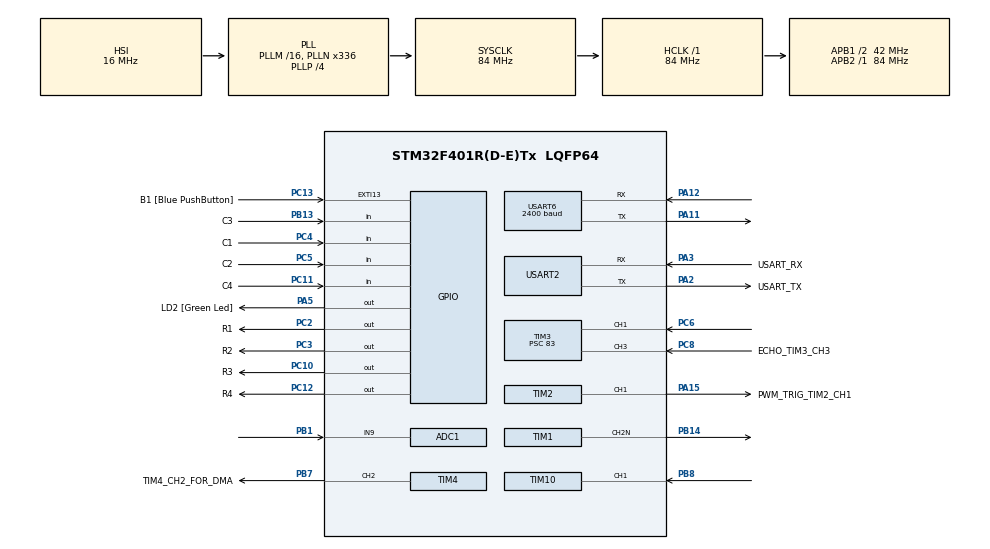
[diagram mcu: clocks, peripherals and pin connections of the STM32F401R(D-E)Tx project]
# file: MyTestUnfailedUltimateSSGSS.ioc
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ADC1.Channel-0\#ChannelRegularConversion=ADC_CHANNEL_9
ADC1.DMAContinuousRequests=ENABLE
ADC1.ExternalTrigConv=ADC_EXTERNALTRIGCONV_T2_TRGO
ADC1.NbrOfConversionFlag=1
ADC1.Rank-0\#ChannelRegularConversion=1
ADC1.SamplingTime-0\#ChannelRegularConversion=ADC_SAMPLETIME_3CYCLES
ADC1.master=1
Dma.ADC1.0.Direction=DMA_PERIPH_TO_MEMORY
Dma.ADC1.0.FIFOMode=DMA_FIFOMODE_DISABLE
Dma.ADC1.0.Instance=DMA2_Stream0
Dma.ADC1.0.MemDataAlignment=DMA_MDATAALIGN_WORD
Dma.ADC1.0.MemInc=DMA_MINC_ENABLE
Dma.ADC1.0.Mode=DMA_CIRCULAR
Dma.ADC1.0.PeriphDataAlignment=DMA_PDATAALIGN_WORD
Dma.ADC1.0.PeriphInc=DMA_PINC_DISABLE
Dma.ADC1.0.Priority=DMA_PRIORITY_HIGH
Dma.Request0=ADC1
Dma.Request1=USART6_TX
Dma.Request2=TIM4_CH2
Dma.TIM4_CH2.2.Direction=DMA_MEMORY_TO_PERIPH
Dma.TIM4_CH2.2.FIFOMode=DMA_FIFOMODE_DISABLE
Dma.TIM4_CH2.2.Instance=DMA1_Stream3
Dma.TIM4_CH2.2.MemDataAlignment=DMA_MDATAALIGN_WORD
Dma.TIM4_CH2.2.MemInc=DMA_MINC_ENABLE
Dma.TIM4_CH2.2.Mode=DMA_NORMAL
Dma.TIM4_CH2.2.PeriphDataAlignment=DMA_PDATAALIGN_WORD
Dma.TIM4_CH2.2.PeriphInc=DMA_PINC_DISABLE
Dma.TIM4_CH2.2.Priority=DMA_PRIORITY_HIGH
Dma.USART6_TX.1.Direction=DMA_MEMORY_TO_PERIPH
Dma.USART6_TX.1.FIFOMode=DMA_FIFOMODE_DISABLE
Dma.USART6_TX.1.Instance=DMA2_Stream6
Dma.USART6_TX.1.MemDataAlignment=DMA_MDATAALIGN_BYTE
Dma.USART6_TX.1.MemInc=DMA_MINC_ENABLE
Dma.USART6_TX.1.Mode=DMA_NORMAL
Dma.USART6_TX.1.PeriphDataAlignment=DMA_PDATAALIGN_BYTE
Dma.USART6_TX.1.PeriphInc=DMA_PINC_DISABLE
Dma.USART6_TX.1.Priority=DMA_PRIORITY_VERY_HIGH
Mcu.Family=STM32F4
Mcu.Name=STM32F401R(D-E)Tx
Mcu.Package=LQFP64
NVIC.DMA1_Stream3_IRQn=true\:0\:0\:false\:false\:true\:false\:true
NVIC.DMA2_Stream0_IRQn=true\:0\:0\:false\:false\:true\:false\:true
NVIC.DMA2_Stream6_IRQn=true\:0\:0\:false\:false\:true\:false\:true
NVIC.PriorityGroup=NVIC_PRIORITYGROUP_0
NVIC.TIM1_UP_TIM10_IRQn=true\:0\:0\:false\:false\:true\:true\:true
NVIC.TIM3_IRQn=true\:0\:0\:false\:false\:true\:true\:true
NVIC.USART6_IRQn=true\:0\:0\:false\:false\:true\:true\:true
PA11.Mode=Asynchronous
PA11.Signal=USART6_TX
PA12.Mode=Asynchronous
PA12.Signal=USART6_RX
PA13.GPIO_Label=TMS
PA13.Mode=Serial_Wire
PA13.Signal=SYS_JTMS-SWDIO
PA14.GPIO_Label=TCK
PA14.Mode=Serial_Wire
PA14.Signal=SYS_JTCK-SWCLK
PA15.GPIO_Label=PWM_TRIG_TIM2_CH1
PA15.Signal=S_TIM2_CH1_ETR
PA2.GPIO_Label=USART_TX
PA2.GPIO_Mode=GPIO_MODE_AF_PP
PA2.GPIO_PuPd=GPIO_NOPULL
PA2.GPIO_Speed=GPIO_SPEED_FREQ_LOW
PA2.Mode=Asynchronous
PA2.Signal=USART2_TX
PA3.GPIO_Label=USART_RX
PA3.GPIO_Mode=GPIO_MODE_AF_PP
PA3.GPIO_PuPd=GPIO_NOPULL
PA3.GPIO_Speed=GPIO_SPEED_FREQ_LOW
PA3.Mode=Asynchronous
PA3.Signal=USART2_RX
PA5.GPIO_Label=LD2 [Green Led]
PA5.GPIO_Mode=GPIO_MODE_OUTPUT_PP
PA5.GPIO_PuPd=GPIO_NOPULL
PA5.GPIO_Speed=GPIO_SPEED_FREQ_LOW
PA5.Signal=GPIO_Output
PB1.Signal=ADCx_IN9
PB13.GPIO_Label=C3
PB13.GPIO_PuPd=GPIO_PULLUP
PB13.Signal=GPIO_Input
PB14.Mode=PWM Generation2 CH2N
PB14.Signal=TIM1_CH2N
PB3.GPIO_Label=SWO
PB3.Signal=SYS_JTDO-SWO
PB7.GPIO_Label=TIM4_CH2_FOR_DMA
PB7.Signal=S_TIM4_CH2
PB8.Signal=S_TIM10_CH1
PC10.GPIO_Label=R3
PC10.GPIO_ModeDefaultOutputPP=GPIO_MODE_OUTPUT_OD
PC10.Signal=GPIO_Output
PC11.GPIO_Label=C4
PC11.GPIO_PuPd=GPIO_PULLUP
PC11.Signal=GPIO_Input
PC12.GPIO_Label=R4
PC12.GPIO_ModeDefaultOutputPP=GPIO_MODE_OUTPUT_OD
PC12.Signal=GPIO_Output
PC13-ANTI_TAMP.GPIO_Label=B1 [Blue PushButton]
PC13-ANTI_TAMP.GPIO_ModeDefaultEXTI=GPIO_MODE_IT_FALLING
PC13-ANTI_TAMP.GPIO_PuPd=GPIO_NOPULL
PC13-ANTI_TAMP.Signal=GPXTI13
PC14-OSC32_IN.Mode=LSE-External-Oscillator
PC14-OSC32_IN.Signal=RCC_OSC32_IN
PC15-OSC32_OUT.Mode=LSE-External-Oscillator
PC15-OSC32_OUT.Signal=RCC_OSC32_OUT
PC2.GPIO_Label=R1
PC2.GPIO_ModeDefaultOutputPP=GPIO_MODE_OUTPUT_OD
PC2.Signal=GPIO_Output
PC3.GPIO_Label=R2
PC3.GPIO_ModeDefaultOutputPP=GPIO_MODE_OUTPUT_OD
PC3.Signal=GPIO_Output
PC4.GPIO_Label=C1
PC4.GPIO_PuPd=GPIO_PULLUP
PC4.Signal=GPIO_Input
PC5.GPIO_Label=C2
PC5.GPIO_PuPd=GPIO_PULLUP
PC5.Signal=GPIO_Input
PC6.Signal=S_TIM3_CH1
PC8.GPIO_Label=ECHO_TIM3_CH3
PC8.GPIO_ModeDefaultPP=GPIO_MODE_AF_PP
PC8.GPIO_PuPd=GPIO_NOPULL
PC8.GPIO_Speed=GPIO_SPEED_FREQ_LOW
PC8.Signal=S_TIM3_CH3
PH0\ -\ OSC_IN.Mode=HSE-External-Clock-Source
PH0\ -\ OSC_IN.Signal=RCC_OSC_IN
PH1\ -\ OSC_OUT.Mode=HSE-External-Clock-Source
PH1\ -\ OSC_OUT.Signal=RCC_OSC_OUT
ProjectManager.HeapSize=0x200
ProjectManager.StackSize=0x400
ProjectManager.TargetToolchain=MDK-ARM V5
RCC.48MHZClocksFreq_Value=48000000
RCC.AHBFreq_Value=84000000
RCC.APB1CLKDivider=RCC_HCLK_DIV2
RCC.APB1Freq_Value=42000000
RCC.APB1TimFreq_Value=84000000
RCC.APB2Freq_Value=84000000
RCC.APB2TimFreq_Value=84000000
RCC.CortexFreq_Value=84000000
RCC.HCLKFreq_Value=84000000
RCC.HSE_VALUE=8000000
RCC.HSI_VALUE=16000000
RCC.PLLN=336
RCC.PLLP=RCC_PLLP_DIV4
RCC.PLLQ=7
RCC.SYSCLKFreq_VALUE=84000000
RCC.SYSCLKSource=RCC_SYSCLKSOURCE_PLLCLK
RCC.VCOOutputFreq_Value=336000000
SH.ADCx_IN9.0=ADC1_IN9,IN9
SH.S_TIM10_CH1.0=TIM10_CH1,Input_Capture1_from_TI1
SH.S_TIM2_CH1_ETR.0=TIM2_CH1,PWM Generation1 CH1
SH.S_TIM3_CH1.0=TIM3_CH1,Input_Capture1_from_TI1
SH.S_TIM3_CH3.0=TIM3_CH3,Input_Capture3_from_TI3
SH.S_TIM4_CH2.0=TIM4_CH2,PWM Generation2 CH2
TIM1.Channel-PWM\ Generation2\ CH2N=TIM_CHANNEL_2
TIM1.Period=2209
TIM10.AutoReloadPreload=TIM_AUTORELOAD_PRELOAD_DISABLE
TIM10.Channel=TIM_CHANNEL_1
TIM10.ICPolarity_CH1=TIM_INPUTCHANNELPOLARITY_BOTHEDGE
TIM10.Period=65535
TIM10.Prescaler=83
TIM2.Channel-PWM\ Generation1\ CH1=TIM_CHANNEL_1
TIM2.Period=199999
TIM2.Prescaler=83
TIM2.Pulse-PWM\ Generation1\ CH1=10
TIM2.TIM_MasterOutputTrigger=TIM_TRGO_RESET
TIM3.Channel-Input_Capture1_from_TI1=TIM_CHANNEL_1
TIM3.Channel-Input_Capture3_from_TI3=TIM_CHANNEL_3
TIM3.ICPolarity_CH1=TIM_INPUTCHANNELPOLARITY_BOTHEDGE
TIM3.ICPolarity_CH3=TIM_INPUTCHANNELPOLARITY_BOTHEDGE
TIM3.Prescaler=83
TIM4.AutoReloadPreload=TIM_AUTORELOAD_PRELOAD_ENABLE
TIM4.Channel-PWM\ Generation2\ CH2=TIM_CHANNEL_2
TIM4.Period=2100-1
TIM4.Prescaler=0
USART2.VirtualMode=VM_ASYNC
USART6.BaudRate=2400
USART6.VirtualMode=VM_ASYNC
VP_TIM10_VS_ClockSourceINT.Mode=Enable_Timer
VP_TIM2_VS_ClockSourceINT.Mode=Internal
VP_TIM3_VS_ClockSourceINT.Mode=Internal
VP_TIM4_VS_ClockSourceINT.Mode=Internal
board=NUCLEO-F401RE

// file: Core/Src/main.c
/* USER CODE BEGIN Header */
/**
  ******************************************************************************
  * @file           : main.c
  * @brief          : Main program body
  ******************************************************************************
  * @attention
  *
  * <h2><center>&copy; Copyright (c) 2021 STMicroelectronics.
  * All rights reserved.</center></h2>
  *
  * This software component is licensed by ST under BSD 3-Clause license,
  * the "License"; You may not use this file except in compliance with the
  * License. You may obtain a copy of the License at:
  *                        opensource.org/licenses/BSD-3-Clause
  *
  ******************************************************************************
  */
/* USER CODE END Header */
#include "main.h"
#include "adc.h"
#include "dma.h"
#include "tim.h"
#include "usart.h"
#include "gpio.h"

/* USER CODE BEGIN Includes */
#include "stdio.h"
#include "stdlib.h"
//#define ARM_MATH_CM4
//#include "arm_math.h"

#include "MCUFRIEND_kbv.h"
#include "math.h"
#include "shapes.h"
#include "tetris.h"

//#include "MCUFRIEND_kbv.h"
/* USER CODE END Includes */

/* USER CODE BEGIN PD */
#define SNR_THRESHOLD_F32    75.0f
#if defined(ARM_MATH_MVEF) && !defined(ARM_MATH_AUTOVECTORIZE)
/* Must be a multiple of 16 */
#define NUM_TAPS_ARRAY_SIZE              32
#else
#define NUM_TAPS_ARRAY_SIZE              29
#endif
#define NUM_TAPS              29

#define TEST_LENGTH_SAMPLES  320
#define TABLE_LENGTH  4

//#define BLOCK_SIZE            1
//#if defined(ARM_MATH_MVEF) && !defined(ARM_MATH_AUTOVECTORIZE)
//static float32_t firStateF32[2 * BLOCK_SIZE + NUM_TAPS - 1];
//#else
//static float32_t firStateF32[BLOCK_SIZE + NUM_TAPS - 1];
//#endif

/* USER CODE END PD */

/* USER CODE BEGIN PV */
///////////////////////LAB8 VARIABLES
#define TABLE_LENGTH_DMA 8000
uint32_t tab_value1[TABLE_LENGTH_DMA];
uint32_t tab_value2[TABLE_LENGTH_DMA];
volatile uint32_t * tab = tab_value1;
volatile int flag_done_DMA = 0;
float A = 0.0;
float k = 0.65;
const float pi = 3.14159265358979323846;
	int i_DMA;
	double periode = 100.00;
	int a_DMA = 0;
	int zz= 0;
	double constante;

///Project Variables
bool startScreen = true;
volatile int Rise_Fall_State = 0;
volatile int token25 =-1;
volatile int local_time = 0;

		//variables for X inputs
volatile float DifferenceX = 0.0;
volatile float IC_Val1 = 0.0;
volatile float IC_Val2 = 0.0;
volatile int Is_First_CapturedX = 0;
volatile float DistanceX = -9000.0;
volatile float tab_valueX[TABLE_LENGTH];
		//variables for Y inputs
volatile float DifferenceY = 0.0;
volatile float IC_Val3 = 0.0;
volatile float IC_Val4 = 0.0;
volatile int Is_First_CapturedY = 0;
volatile float DistanceY = -9000.0;
volatile float tab_valueY[TABLE_LENGTH];

volatile bool FromGaucheToDroite =false;
volatile bool FromGaucheToDroiteFast =false;
volatile bool FromDroiteToGauche =false;
volatile bool FromDroiteToGaucheFast =false;
volatile bool notDroiteGauche=false;
volatile bool notGaucheDroite=false;
volatile bool versLeBas=false;
volatile bool isRotating=false;

//TRansmission RX TX
volatile int compteur = 0;
volatile int compteur_end = 0;
volatile int flag_send = 0;
volatile int flag_done = 0;
volatile int flag_reset = 0;
static int y = 0;
int x = 0;

uint8_t data[FIELD_W+2];
volatile uint8_t Rx_data;
volatile uint8_t Rx_buffer[FIELD_W];
volatile int current_state = 0;
volatile int changement = 1;
volatile int flag_lineIsFull = 0;
volatile bool flag_Collision = false;
volatile unsigned int indexLine=0;
volatile unsigned int indexEmpty=0;

unsigned int level = 0;
/* USER CODE END PV */

void SystemClock_Config(void);

/* USER CODE BEGIN 0 */
#ifdef __GNUC__
#define PUTCHAR_PROTOTYPE int __io_putchar(int ch)
#else
#define PUTCHAR_PROTOTYPE int fputc(int ch, FILE *f)
#endif /* __GNUC__ */

#define SUPPORT_ECRAN_1

void print_array(uint8_t* myArray, int size);

void SetLCD(void)
{
	LCD_Begin();
	HAL_Delay(20);
	LCD_SetRotation(0);
//	LCD_InvertDisplay(false);
	LCD_FillScreen(BLACK);
}

void Menustart(uint16_t Color1, uint16_t Color2, uint16_t Color3, uint16_t Color4)
{
	LCD_SetCursor(10, 50);
	LCD_SetTextColor(WHITE, Color1);
	LCD_Printf("SANIC TETRIS");

	LCD_SetCursor(10, 100);
	LCD_SetTextColor(WHITE,Color2);
	LCD_Printf("Select mode:");

	LCD_SetCursor(25, 200);
	LCD_SetTextColor(WHITE,Color3);
	LCD_Printf("->MODE SOLO");

	LCD_SetCursor(25, 250);
	LCD_SetTextColor(WHITE,Color4);
	LCD_Printf("->MODE DUEL");
}

void SelectSize(uint16_t Color1, uint16_t Color2, uint16_t Color3, uint16_t Color4)
{
	LCD_SetCursor(10, 50);
	LCD_SetTextColor(WHITE, Color1);
	LCD_Printf("SANIC TETRIS");

	LCD_SetCursor(10, 100);
	LCD_SetTextColor(WHITE,Color2);
	LCD_Printf("Select size:");

	LCD_SetCursor(25, 200);
	LCD_SetTextColor(WHITE,Color3);
	LCD_Printf("->SMALL");

	LCD_SetCursor(25, 250);
	LCD_SetTextColor(WHITE,Color4);
	LCD_Printf("->BIG");
}

void SelectDifficulty(uint16_t Color1, uint16_t Color2, uint16_t Color3, uint16_t Color4)
{
	LCD_SetCursor(20, 100);
	LCD_SetTextColor(WHITE, Color1);
	LCD_Printf("-> INDUS");

	LCD_SetCursor(20, 125);
	LCD_SetTextColor(WHITE,Color2);
	LCD_Printf("-> EASY");

	LCD_SetCursor(20, 150);
	LCD_SetTextColor(WHITE, Color3);
	LCD_Printf("-> MEDIUM");

	LCD_SetCursor(20, 175);
	LCD_SetTextColor(WHITE, Color4);
	LCD_Printf("-> HARD");

	LCD_SetTextColor(WHITE, BLACK);
}

void selectRow (int r)
{
	if (r==1) HAL_GPIO_WritePin(R1_GPIO_Port, R1_Pin, GPIO_PIN_RESET);
	else HAL_GPIO_WritePin(R1_GPIO_Port, R1_Pin, GPIO_PIN_SET);
	if (r==2) HAL_GPIO_WritePin(R2_GPIO_Port, R2_Pin, GPIO_PIN_RESET);
	else HAL_GPIO_WritePin(R2_GPIO_Port, R2_Pin, GPIO_PIN_SET);
	if (r==3) HAL_GPIO_WritePin(R3_GPIO_Port, R3_Pin, GPIO_PIN_RESET);
	else HAL_GPIO_WritePin(R3_GPIO_Port, R3_Pin, GPIO_PIN_SET);
	if (r==4) HAL_GPIO_WritePin(R4_GPIO_Port, R4_Pin, GPIO_PIN_RESET);
	else HAL_GPIO_WritePin(R4_GPIO_Port, R4_Pin, GPIO_PIN_SET);
}

int readCol()
{
	int result = 0;
	if (HAL_GPIO_ReadPin(C1_GPIO_Port, C1_Pin) == GPIO_PIN_RESET) result += 1;
	if (HAL_GPIO_ReadPin(C2_GPIO_Port, C2_Pin) == GPIO_PIN_RESET) result += 2;
	if (HAL_GPIO_ReadPin(C3_GPIO_Port, C3_Pin) == GPIO_PIN_RESET) result += 4;
	if (HAL_GPIO_ReadPin(C4_GPIO_Port, C4_Pin) == GPIO_PIN_RESET) result += 8;
	return result;
}

int keyPressed()
{
	int rowPos=1; //Current row positiom
	int rowValue; //Value read from the current row
	for (rowPos=1; rowPos <= 4; rowPos++)
	{
		selectRow(rowPos);
		HAL_Delay(10);
//		while (token2 == 0); //attendre 10ms
//		token2 = 0;
		rowValue=readCol();
		if (rowValue != 0)
		{ // a key is pressed
			int result = 4*(rowPos-1);
			while (!(rowValue & 1))
			{ // test if bit #0 is false
				result++;
				rowValue>>=1;
			}
			while (readCol() != 0); // key no more pressed
			return result;
		}
	}
	return -1;
}

void copy( uint8_t* myArray, int index)
{
	myArray[0]=255;
	for (int i=0; i<FIELD_W;i++){
		myArray[i+1]=Field[index][i];
	}
	myArray[FIELD_W+1]=254;
}

void paste(	uint8_t* buffer,  int row)
{
	for(int i=0; i<FIELD_W;i++){
		if(buffer[i]!=0){
		Field[row][i]= buffer[i];//buffer[i];
		}
	}
}
void DMA_sound_Extended()
{
				///////////////////DMA//////////////////////////
					HAL_TIM_PWM_Start_DMA(&htim4, TIM_CHANNEL_2, (uint32_t *)tab, TABLE_LENGTH_DMA);

					flag_done_DMA = 0;

		for (i_DMA=0;i_DMA<TABLE_LENGTH_DMA;i_DMA++) {
				double modulo = (i_DMA%((int)(periode)));
				A = 1+k*sin(4*pi*((float) i_DMA)*(1/8000000.0));
				double value = 1000*A;
				if(modulo < periode/2)
					value = 0*A;
				tab[i_DMA]=(int) value;
		}

		while (flag_done_DMA == 0);

		if(a_DMA==5){
			periode/=constante;
			a_DMA=0;
			zz++;
		}

		if(zz==6){
			constante = 1/constante;
		}

		if(zz==12){
			constante = 1/constante;
			zz=0;
			periode=100.00;
		}

		a_DMA++;
//				HAL_TIM_PWM_Stop_DMA(&htim4, TIM_CHANNEL_2);

}

void DMA_sound_Classic()
{
				///////////////////DMA//////////////////////////
					HAL_TIM_PWM_Start_DMA(&htim4, TIM_CHANNEL_2, (uint32_t *)tab, TABLE_LENGTH_DMA);

					flag_done_DMA = 0;

		for (i_DMA=0;i_DMA<TABLE_LENGTH_DMA;i_DMA++) {
				double modulo = (i_DMA%((int)(periode)));
				A = 1+k*sin(4*pi*((float) i_DMA)*(1/8000000.0));
				double value = 1000*A;
				if(modulo < periode/2)
					value = 0*A;
				tab[i_DMA]=(int) value;
		}

		while (flag_done_DMA == 0);

		if(a_DMA==5){
			periode/=constante;
			a_DMA=0;
			zz++;
		}

		if(zz==6){
			constante = 1/constante;
		}

		if(zz==12){
			constante = 1/constante;
			zz=0;
			periode=100.00;
		}

		a_DMA++;
		HAL_TIM_PWM_Stop_DMA(&htim4, TIM_CHANNEL_2);

}

bool updateField()
{

	// Faire tomber le tetrimino en mouvement.
	bool collision = displaceTetrimino(0, 1, &tetrimino);

	// S'il y a une collision vers le bas, il faut actualiser le puits.
	if (collision)
		{
			DMA_sound_Classic();
		// Remplacer le tetrimino mobile par des blocs dans "Field".
		for(int i = 0; i < 4; i++){
			for(int j = 0; j < 4; j++){
				short row = i + tetrimino.y - 1;
				short col = j + tetrimino.x;
				short rotation = tetrimino.rotation % N_ROTATIONS;
				bool isTetriminoBlockSolid = (
					TETRIMINOS[tetrimino.type][rotation][i][j]);
				if (isTetriminoBlockSolid && row < FIELD_H) {
					// On ajoute 1 au type parce que 0 correspond déjà à une
					// case vide dans le tableau Field.
					Field[row][col] = tetrimino.type + 1;
				}
			}
		}

		// Effacer des lignes si nécessaire.
		short nLinesToErase = 0;
		for(short row = FIELD_H - 1; row > 0; row--){
			bool isLineFull = true;
			for(short col = 0; col < FIELD_W; col++){
				if (!Field[row][col]){
					isLineFull = false;
					break;
				}
			}
			if (isLineFull) {
				eraseLine(row);
				nLinesToErase++;
				row++;
			}
		}
		if (nLinesToErase) {
			displayField();
			score += linePoints[nLinesToErase - 1];
			nDeletedLines += nLinesToErase;
			displayScore();
			displayNDeletedLines();
		}
		//find index of line to transmit AND index of line to put received line in
		for (int row = FIELD_H -1; row > 0; row--)
		{
			bool isLineEmpty = true;
			for (int col = 0; col < FIELD_W; col++)
			{
					if (Field[row][col] != 0)
					{
						isLineEmpty = false;
						break;
					}

			}
			if(isLineEmpty)
			{
				indexEmpty=row;
				indexLine=row+1;
				break;
			}
		}
		if ( nLinesToErase == 2) //commencer transmission 1 ligne
		{
			//appel copy
//				HAL_TIM_PWM_Start_DMA(&htim4, TIM_CHANNEL_2, (uint32_t *)tab, TABLE_LENGTH_DMA);
			copy((uint8_t*)&data, indexLine);
			HAL_UART_Transmit_DMA(&huart6, data, sizeof(data));
			///////////////////DMA//////////////////////////
			DMA_sound_Extended();
//					flag_done_DMA = 0;
//
//		for (i_DMA=0;i_DMA<TABLE_LENGTH_DMA;i_DMA++) {
//				double modulo = (i_DMA%((int)(periode)));
//				A = 1+k*sin(4*pi*((float) i_DMA)*(1/80000.0));
//				double value = 1000*A;
//				if(modulo < periode/2)
//					value = 0*A;
//				tab[i_DMA]=(int) value;
//		}
//
//		while (flag_done_DMA == 0);
//
//		if(a_DMA==5){
//			periode/=constante;
//			a_DMA=0;
//			zz++;
//		}
//
//		if(zz==6){
//			constante = 1/constante;
//		}
//
//
//		if(zz==12){
//			constante = 1/constante;
//			zz=0;
//			periode=100.00;
//		}
//
//		a_DMA++;
//				HAL_TIM_PWM_Stop_DMA(&htim4, TIM_CHANNEL_2);

		}
		if ( nLinesToErase == 3) //commencer transmission 1 ligne
		{
			//appel copy
			DMA_sound_Extended();
			copy((uint8_t*)&data, indexLine);
			HAL_UART_Transmit_DMA(&huart6, data, sizeof(data));
			eraseLine(indexLine);
		}
		if ( nLinesToErase == 4) //commencer transmission 1 ligne
		{
			//appel copy
			DMA_sound_Extended();
			copy((uint8_t*)&data, indexLine);
			HAL_UART_Transmit_DMA(&huart6, data, sizeof(data));
			copy((uint8_t*)&data, indexLine+1);
			eraseLine(indexLine);
			HAL_UART_Transmit_DMA(&huart6, data, sizeof(data));

			eraseLine(indexLine+1);
		}
//		copy((uint8_t*)&data, indexLine);

		if(flag_done == 1) //réception complète
		{
			//appel paste
			flag_done =0;
			paste(((uint8_t*)&Rx_buffer), indexEmpty);
			displayField();
		}

		// Réinitialiser le tetrmino et vérifier s'il y a une erreur.
		bool lostGame = resetTetrimino(&tetrimino);
		if (lostGame) {
			return true;
		}

	}
	return false;
}

/* USER CODE END 0 */

int main(void)
{

  /* MCU Configuration--------------------------------------------------------*/

  /* Reset of all peripherals, Initializes the Flash interface and the Systick. */
  HAL_Init();

  /* Configure the system clock */
  SystemClock_Config();

  /* Initialize all configured peripherals */
  MX_GPIO_Init();
  MX_USART2_UART_Init();
  MX_ADC1_Init();
  MX_DMA_Init();
  MX_TIM2_Init();
  MX_TIM3_Init();
  MX_TIM4_Init();
  MX_USART6_UART_Init();
  MX_TIM1_Init();
  MX_TIM10_Init();
  /* USER CODE BEGIN 2 */
	// LCD initialization
	LCD_Begin();
	HAL_Delay(20);
	LCD_SetRotation(0);
//	LCD_FillScreen(BLACK);
	//LCD_DrawFastHLine(0, 160, 240, YELLOW);
//	LCD_DrawCircle(N/2, N/2, 15, WHITE);
	//LCD_DrawRect(20, 40, 202, 240, RED);
//	LCD_Printf("! HELLO ! ");
//	HAL_TIM_Base_Start(&htim2);
//	HAL_TIM_Base_Start_IT(&htim2);

//	HAL_ADC_Start_DMA(&hadc1, tab, TABLE_LENGTH);
		#undef FIELD_H
		#undef FIELD_W

		Menustart(WHITE,WHITE,WHITE,WHITE);
		while(startScreen == true)
		{
			int key = keyPressed();
			if( (key == 0) || (key == 1) || (key == 2) || (key == 3) ) //rangée 0
			{
					printf("Bouton pese numero %d\r\n", key);
					SetLCD();
					Menustart(WHITE,WHITE,WHITE,RED);

			}
			if( (key == 4) || (key == 5) || (key == 6) || (key == 7) ) //rangée 1
			{
					SetLCD();
					Menustart(WHITE,WHITE,RED,WHITE);
			}

			if( (key == 8) || (key == 9) || (key == 10) || (key == 11) ) //rangée 2
			{
				break;
			}
//			if( (key == 12 || (key == 13) || (key == 14) || (key == 15) ) //rangée 3
//			{
//
//			}
			else {			printf("Bouton non pese\r\n");}
		}
		SetLCD();
		SelectSize(WHITE, WHITE, WHITE, WHITE);

		while(startScreen == true)
		{

			int key = keyPressed();
			if( (key == 0) || (key == 1) || (key == 2) || (key == 3) ) //rangée 0
			{
					printf("Bouton pese numero %d\r\n", key);
					SetLCD();
					SelectSize(WHITE, WHITE, WHITE, RED);
					#undef FIELD_H
					#define FIELD_H 16 // Nombre de rangées.
					#undef FIELD_W
					#define FIELD_W 10 // Nombre de colonnes.
					char Field [FIELD_H][FIELD_W];
					uint8_t data[FIELD_W+2];
					volatile uint8_t Rx_buffer[FIELD_W];
			}
			if( (key == 4) || (key == 5) || (key == 6) || (key == 7) ) //rangée 1
			{
					SetLCD();
					SelectSize(WHITE, WHITE, RED, WHITE);
					#undef FIELD_H
					#define FIELD_H 20 // Nombre de rangées.
					#undef FIELD_W
					#define FIELD_W 14 // Nombre de colonnes.
					char Field [FIELD_H][FIELD_W];
					uint8_t data[FIELD_W+2];
					volatile uint8_t Rx_buffer[FIELD_W];
			}

			if( (key == 8) || (key == 9) || (key == 10) || (key == 11) ) //rangée 2
			{
				startScreen= false;

			}

		}
	SetLCD();

		//Tetris
	LCD_FillScreen(DARKCYAN);
	initializeField();
	displayField();
	LCD_DrawRect(80, 20, 100, 30, RED);
	LCD_DrawChar(90, 30, 'T', RED, DARKCYAN, 2);	LCD_DrawChar(100, 30, 'E', RED, DARKCYAN, 2);	LCD_DrawChar(110, 30, 'T', RED, DARKCYAN, 2);	LCD_DrawChar(120, 30, 'R', RED, DARKCYAN, 2);	LCD_DrawChar(130, 30, 'I', RED, DARKCYAN, 2);	LCD_DrawChar(140, 30, 'S', RED, DARKCYAN, 2);
	LCD_DrawChar(200, 60, 'L', RED, DARKCYAN, 3);	LCD_DrawChar(200, 90, 'E', RED, DARKCYAN, 3);	LCD_DrawChar(200, 120, 'V', RED, DARKCYAN, 3);	LCD_DrawChar(200, 150, 'E', RED, DARKCYAN, 3);	LCD_DrawChar(200, 180, 'L', RED, DARKCYAN, 3);

	char str[12] ;
	sprintf(str, "%d", level);
	LCD_SetCursor(200, 220);
	LCD_SetTextColor(RED, DARKCYAN);
	LCD_Printf(str);

//PWM TRIG START
	HAL_TIM_PWM_Start(&htim2,TIM_CHANNEL_1);

	//START ECHO CAPTURE TIMERS
	HAL_TIM_IC_Start_IT(&htim3,TIM_CHANNEL_3);
	HAL_TIM_IC_Start_IT(&htim3,TIM_CHANNEL_1);

	HAL_UART_Receive_IT(&huart6, &Rx_data, sizeof(Rx_data));
	HAL_TIM_IC_Start_IT(&htim10, TIM_CHANNEL_1);
	TIM1->CCR2 = TIM1->ARR/2;	unsigned int a = 0;

	//DMA

//	HAL_TIM_PWM_Start_DMA(&htim4, TIM_CHANNEL_2, (uint32_t *)tab, TABLE_LENGTH_DMA);
	tab = tab_value2;

	constante	= pow(5, 0.1666666666667);

	printf("\\\\\\\\\\\\\\\\\\\\\\\\\\\\\\\\\\\\\\\\\\\\\\\\\\\\\\\\\\\\\\\\\\\\\\\\\\\\\\\\\\\\\\\\\\\\\\\\\\\\\\\\\\\\\\\\\\\\\\\\\\\\\\\\\\\\\\\\\\\\\\\\\\\\\\\\\\\\\\ \r\n");
  /* USER CODE END 2 */

  /* Infinite loop */
  /* USER CODE BEGIN WHILE */
//
while (1)
{

//	if(flag_send == 1)
//		{

//				flag_send = 0;
////				if(x<20){
////					data[0] = 255;
////					data[2+x] = 254;
////					for(int j=0; j<x+1; j++){
////						data[j+1] = j+1;
////					}
////				x++;
////				}
//
////					HAL_UART_Transmit_DMA(&huart6, data, sizeof(data));
//
//
//

//		}
//		while(token25 == 0);
//		token25 = 0;
//		printf("La distance3 en centimetres est : %f\r\n",tab_valueX[3]);
//		printf("La distance2 en centimetres est : %f\r\n",tab_valueX[2]);
		printf("InedxEmtpy is : %d\r\nInedxLine is : %d\r\n", indexEmpty, indexLine);
				///////////////////////SONAR_BEGIN/////////////////////////
		if(a%2 ==0)
		{
//			printf("\n\nLa distanceY3 en centimetres est : %f\r\nLa distanceY2 en centimetres est : %f\r\nLa distanceY1 en centimetres est : %f\r\nLa distanceY0 en centimetres est : %f\r\n",tab_valueY[3],tab_valueY[2],tab_valueY[1],tab_valueY[0]);
			printf("\n\nLa distanceX3 en centimetres est : %f\r\nLa distanceX2 en centimetres est : %f\r\nLa distanceX1 en centimetres est : %f\r\nLa distanceX0 en centimetres est : %f\r\n",tab_valueX[3],tab_valueX[2],tab_valueX[1],tab_valueX[0]);
//			printf("La distanceY3 en centimetres est : %f\r\nLa distanceY2 en centimetres est : %f\r\n",tab_valueY[3], tab_valueY[2]);
			//Écrire code logique ici
//			printf("La distance initiale1 est : %f\r\n La distance actuelle1 est : %f\r\nLa distance initiale2 est : %f\r\n La distance actuelle2 est : %f\r\n",tab_value[0], tab_value[1],tab_value[2],tab_value[3]);
//			bool FromGaucheToDroite = (tab_valueX[3] < tab_valueX[2]) && ((tab_valueX[2]-tab_valueX[3])> 3.0)
//															&& ((tab_valueX[2]-tab_valueX[3])< 60.0) && ((DistanceX < 100.0) );
//			bool FromDroiteToGauche = (tab_valueX[3] > tab_valueX[2]) && ((tab_valueX[3]-tab_valueX[2])> 3.0)
//															&& ((tab_valueX[3]-tab_valueX[2])< 60.0)  	&& (DistanceX < 100.0) ;
			if((FromGaucheToDroite == true) || (FromGaucheToDroiteFast == true)) //gauche a droite
			{
//				printf("on va vers la droite!\r\n");
				if (FromGaucheToDroite == true)
				{
					displaceTetrimino(1, 0, &tetrimino);
				}
				if (FromGaucheToDroiteFast == true)
				{
					displaceTetrimino(1, 0, &tetrimino);
					displaceTetrimino(1, 0, &tetrimino);
					displaceTetrimino(1, 0, &tetrimino);
//					printf("SANIC_SPEED_SANIC_SPEED_SANIC_SPEED_SANIC_SPEED_SANIC_SPEED!!!!! RIIGHT\r\n");
				}
			}
			if((FromDroiteToGauche == true) || (FromDroiteToGaucheFast == true)) //droite a gauche
			{
//				printf("on va vers la gauche!\r\n");
				if (FromDroiteToGauche == true)
				{
					displaceTetrimino(-1, 0, &tetrimino);
				}
				if (FromDroiteToGaucheFast == true)
				{
					displaceTetrimino(-1, 0, &tetrimino);
					displaceTetrimino(-1, 0, &tetrimino);
					displaceTetrimino(-1, 0, &tetrimino);
//					printf("SANIC_SPEED_SANIC_SPEED_SANIC_SPEED_SANIC_SPEED_SANIC_SPEED!!!!! LEEFT\r\n");
				}
			}
//			bool notDroiteGauche = !((tab_valueX[3] > tab_valueX[2]) && ((tab_valueX[3]-tab_valueX[2])> 3.0)
//															&& ((tab_valueX[3]-tab_valueX[2])< 60.0)  	&& (DistanceX < 100.0) );
//			bool notGaucheDroite = !((tab_valueX[3] < tab_valueX[2]) && ((tab_valueX[2]-tab_valueX[3])> 3.0)
//															&& ((tab_valueX[2]-tab_valueX[3])< 60.0) && ((DistanceX < 100.0) ));
//			bool versLeBas = (tab_valueY[3] < tab_valueY[2]) && (tab_valueY[2]-tab_valueY[3] < 50.0 )
//												&& (tab_valueY[2]-tab_valueY[3] > 5.0 ) && (DistanceY > 0.0) && (DistanceY < 100.0);
			if( versLeBas )	//éxécuter une descente vers le bas
			{
				printf("Descente vers le bas!!!!!!!!\r\n");
				for(  unsigned int i = 0; i < 9000; i++ )
				{

					if (displaceTetrimino(0, 1, &tetrimino)) //ne plus descendre si collision
					{
						break;
					}

				}
//				HAL_Delay(1000);
				while(token25 == 0); //Wait 2000 ms
				token25 = 0;
//				displaceTetrimino(0, 1, &tetrimino);
			}
//			bool isRotating = (tab_valueY[3]-tab_valueY[2] > 100.0) &&  notGaucheDroite && notDroiteGauche
//													&& (DistanceY > 0.0) 	&& (tab_valueY[2] !=0.0);
			if((isRotating == true) && (!versLeBas))
			{
				rotateTetrimino(&tetrimino);
//				printf("Executer Rotation:\r\n");
//				printf("La distanceY initiale 1 en centimetres est : %f\r\nLa distanceY finale 1 en centimetres est : %f\r\nLa distanceY initiale 2 en centimetres est : %f\r\nLa distanceY finale 2 en centimetres est : %f\r\n", tab_valueY[0], tab_valueY[1],tab_valueY[2],tab_valueY[3]);
				printf(" Rotation !!:\r\n");
			}
			a++;
		}
		else //do nothing
		{
			a++;
		}
		///////////////////////SONAR_END/////////////////////////
    /* USER CODE END WHILE */

    /* USER CODE BEGIN 3 */

		//Random movements for Tetris

		if(local_time >= 20000)
		{
			level= 1;
		}

		if (updateField()){ // Quand "updateField" renvoie 1, la partie est perdue.
			LCD_FillScreen(DARKCYAN);
			initializeField();
			displayField();
			LCD_DrawRect(80, 20, 100, 30, RED);
			LCD_DrawChar(90, 30, 'T', RED, DARKCYAN, 2);	LCD_DrawChar(100, 30, 'E', RED, DARKCYAN, 2);	LCD_DrawChar(110, 30, 'T', RED, DARKCYAN, 2);	LCD_DrawChar(120, 30, 'R', RED, DARKCYAN, 2);	LCD_DrawChar(130, 30, 'I', RED, DARKCYAN, 2);	LCD_DrawChar(140, 30, 'S', RED, DARKCYAN, 2);
			LCD_DrawChar(200, 60, 'L', RED, DARKCYAN, 3);	LCD_DrawChar(200, 90, 'E', RED, DARKCYAN, 3);	LCD_DrawChar(200, 120, 'V', RED, DARKCYAN, 3);	LCD_DrawChar(200, 150, 'E', RED, DARKCYAN, 3);	LCD_DrawChar(200, 180, 'L', RED, DARKCYAN, 3);
			char str[12] ;
			sprintf(str, "%d", level);
			LCD_SetCursor(200, 220);
			LCD_SetTextColor(RED, DARKCYAN);
			LCD_Printf(str);
		}
		switch (level)
		{
			case(0)://LVL0
    HAL_Delay(25);
//    randomDisplaceOrRotate(); // Mouvements aléatoires pour simuler une partie.

		//tests
//		displaceTetrimino(1, 0, &tetrimino);
//		displaceTetrimino(-1, 0, &tetrimino);
//		displaceTetrimino(0, 1, &tetrimino);
//		displaceTetrimino(0, -1, &tetrimino);

//		selectRow(1);
//    HAL_Delay(10);

    HAL_Delay(125);break;
					case(1)://LVL1
    HAL_Delay(25);
    HAL_Delay(100);break;
		}

  }
  /* USER CODE END 3 */
}

void SystemClock_Config(void)
{
  RCC_OscInitTypeDef RCC_OscInitStruct = {0};
  RCC_ClkInitTypeDef RCC_ClkInitStruct = {0};

  /** Configure the main internal regulator output voltage
  */
  __HAL_RCC_PWR_CLK_ENABLE();
  __HAL_PWR_VOLTAGESCALING_CONFIG(PWR_REGULATOR_VOLTAGE_SCALE2);
  /** Initializes the RCC Oscillators according to the specified parameters
  * in the RCC_OscInitTypeDef structure.
  */
  RCC_OscInitStruct.OscillatorType = RCC_OSCILLATORTYPE_HSI;
  RCC_OscInitStruct.HSIState = RCC_HSI_ON;
  RCC_OscInitStruct.HSICalibrationValue = RCC_HSICALIBRATION_DEFAULT;
  RCC_OscInitStruct.PLL.PLLState = RCC_PLL_ON;
  RCC_OscInitStruct.PLL.PLLSource = RCC_PLLSOURCE_HSI;
  RCC_OscInitStruct.PLL.PLLM = 16;
  RCC_OscInitStruct.PLL.PLLN = 336;
  RCC_OscInitStruct.PLL.PLLP = RCC_PLLP_DIV4;
  RCC_OscInitStruct.PLL.PLLQ = 7;
  if (HAL_RCC_OscConfig(&RCC_OscInitStruct) != HAL_OK)
  {
    Error_Handler();
  }
  /** Initializes the CPU, AHB and APB buses clocks
  */
  RCC_ClkInitStruct.ClockType = RCC_CLOCKTYPE_HCLK|RCC_CLOCKTYPE_SYSCLK
                              |RCC_CLOCKTYPE_PCLK1|RCC_CLOCKTYPE_PCLK2;
  RCC_ClkInitStruct.SYSCLKSource = RCC_SYSCLKSOURCE_PLLCLK;
  RCC_ClkInitStruct.AHBCLKDivider = RCC_SYSCLK_DIV1;
  RCC_ClkInitStruct.APB1CLKDivider = RCC_HCLK_DIV2;
  RCC_ClkInitStruct.APB2CLKDivider = RCC_HCLK_DIV1;

  if (HAL_RCC_ClockConfig(&RCC_ClkInitStruct, FLASH_LATENCY_2) != HAL_OK)
  {
    Error_Handler();
  }
}

/* USER CODE BEGIN 4 */
/**
* @brief Retargets the C library printf function to the USART.
* @param None
* @retval None
*/
PUTCHAR_PROTOTYPE
{
/* Place your implementation of fputc here */
/* e.g. write a character to the USART2 and Loop until the end
of transmission */
HAL_UART_Transmit(&huart2, (uint8_t *)&ch, 1, 0xFFFF);
return ch;
}

//void HAL_TIM_PeriodElapsedCallback(TIM_HandleTypeDef *htim)
//{
// if (htim->Instance == TIM2)
//	{
//		HAL_ADC_Start(&hadc1);
//		HAL_GPIO_TogglePin(GPIOA,GPIO_PIN_5);
//	}
//}

void HAL_SYSTICK_Callback(void)
{
	local_time++;
	if (local_time%100 == 0)
	{
		token25 = 1;
	}
	compteur++;

	if(compteur == 1000){
		flag_send = 1;
		compteur = 0;
		compteur_end++;
	}
	//Tetris with manual keyboard commands :
//	 static bool left = false;
//    static bool right = false;
//    static bool rotate = false;
//    int row = readCol();
//    if (row == 1){
//        if (!left)
//            displaceTetrimino(-1, 0, &tetrimino);
//        left = true;
//    }
//    else {
//        left = false;
//    }
//    if (row == 2){
//        if (!right)
//            displaceTetrimino(1, 0, &tetrimino);
//        right = true;
//    }
//    else {
//        right = false;
//    }
//    if (row == 4){
//        if (!rotate)
//            rotateTetrimino(&tetrimino);
//        rotate = true;
//    }
//    else {
//        rotate = false;
//    }
}

void HAL_TIM_PWM_PulseFinishedCallback(TIM_HandleTypeDef *htim) {

	HAL_TIM_PWM_Start_DMA(&htim4, TIM_CHANNEL_2, (uint32_t *)tab, TABLE_LENGTH_DMA);

	if (tab == tab_value1) tab = tab_value2;
	else tab = tab_value1;

  flag_done_DMA	= 1;
}

void HAL_UART_RxCpltCallback(UART_HandleTypeDef *huart)
{

	switch (current_state){
		case 0:
			for(unsigned int i = 0; i < FIELD_W; i++)
				{
					Rx_buffer[i] = 0;
				}
			if (Rx_data == 255){

				current_state = 1;
				y = 0;
			}
			break;
		case 1:
			if (Rx_data == 254){
				current_state = 0;
				flag_done = 1;
			}
			else {
				if(Rx_data > 7)
				{
					Rx_data = 0;
				}

				Rx_buffer[y] = Rx_data;
				y++;
			}
			break;

	}
  HAL_UART_Receive_IT(&huart6, &Rx_data, sizeof(Rx_data));
}

void print_array(uint8_t* myArray, int size) {
    printf("[");
    for(int i=0; i<size-1; i++) {
        printf("%i, ", myArray[i]);
    }
    printf("%i]\n\r", myArray[size-1]);
}

void HAL_TIM_IC_CaptureCallback(TIM_HandleTypeDef *htim)
{
//	if(htim->Instance == TIM3)
//	{
	    if(htim->Instance == TIM10){
        if(changement)HAL_TIMEx_PWMN_Start(&htim1, TIM_CHANNEL_2);
        else HAL_TIMEx_PWMN_Stop(&htim1, TIM_CHANNEL_2);
    }
    changement = !changement;

		if (htim->Channel == HAL_TIM_ACTIVE_CHANNEL_3) //Channel 3 is for X inputs, linked to PC8
		{
			// TIM2 has captured either rising or falling edge of ECHO signal located at PC8 pin
			//TODO: store counter value in global variable
					if (Is_First_CapturedX==0) // if the first value is not captured
					{
	//					IC_Val1 = HAL_TIM_ReadCapturedValue(htim, TIM_CHANNEL_3); // read the first value
						IC_Val1 = TIM3->CCR3;

						Is_First_CapturedX = 1;  // set the first captured as true
					}

					else   // if the first is already captured
					{
	//					IC_Val2 = HAL_TIM_ReadCapturedValue(htim, TIM_CHANNEL_3);  // read second value
						IC_Val2 = TIM3->CCR3;
						if (IC_Val2 > IC_Val1)
						{
							DifferenceX = IC_Val2-IC_Val1;
						}

						else if (IC_Val1 > IC_Val2)
						{
							DifferenceX = (0xffff - IC_Val1) + IC_Val2;
						}
						DistanceX = DifferenceX/58.0;
						tab_valueX[TABLE_LENGTH-4]=tab_valueX[TABLE_LENGTH-3];
						tab_valueX[TABLE_LENGTH-3]=tab_valueX[TABLE_LENGTH-2];
						tab_valueX[TABLE_LENGTH-2]=tab_valueX[TABLE_LENGTH-1];
						tab_valueX[TABLE_LENGTH-1]=DistanceX;
						Is_First_CapturedX = 0; // set it back to false
					}

		}

		if (htim->Channel == HAL_TIM_ACTIVE_CHANNEL_1) // Channel 1 is for Y inputs, linked to PC6
		{
			// TIM2 has captured either rising or falling edge of ECHO signal located at PC8 pin
			//TODO: store counter value in global variable
					if (Is_First_CapturedY==0) // if the first value is not captured
					{
	//					IC_Val3 = HAL_TIM_ReadCapturedValue(htim, TIM_CHANNEL_1); // read the first value
						IC_Val3 = TIM3->CCR1;

						Is_First_CapturedY = 1;  // set the first captured as true
					}

					else   // if the first is already captured
					{
	//					IC_Val2 = HAL_TIM_ReadCapturedValue(htim, TIM_CHANNEL_1);  // read second value
						IC_Val4 = TIM3->CCR1;
						if (IC_Val4 > IC_Val3)
						{
							DifferenceY = IC_Val4-IC_Val3;
						}

						else if (IC_Val3 > IC_Val4)
						{
							DifferenceY = (0xffff - IC_Val3) + IC_Val4;
						}
						DistanceY = DifferenceY/58.0;
						tab_valueY[TABLE_LENGTH-4]=tab_valueY[TABLE_LENGTH-3];
						tab_valueY[TABLE_LENGTH-3]=tab_valueY[TABLE_LENGTH-2];
						tab_valueY[TABLE_LENGTH-2]=tab_valueY[TABLE_LENGTH-1];
						tab_valueY[TABLE_LENGTH-1]=DistanceY;
						Is_First_CapturedY = 0; // set it back to false
					}
		 }
		FromGaucheToDroite = (tab_valueX[3] < tab_valueX[2]) && ((tab_valueX[2]-tab_valueX[3])> 1.5)
															&& ((tab_valueX[2]-tab_valueX[3])< 15.0) && ((tab_valueX[3] < 80.0)&&(tab_valueX[2] < 80.0) );
		FromGaucheToDroiteFast = (tab_valueX[3] < tab_valueX[2]) && ((tab_valueX[2]-tab_valueX[3])>= 15.0 )
															&& ((tab_valueX[2]-tab_valueX[3])< 60.0) && ((tab_valueX[3] < 80.0)&&(tab_valueX[2] < 80.0));
		FromDroiteToGauche = (tab_valueX[3] > tab_valueX[2]) && ((tab_valueX[3]-tab_valueX[2])> 1.5)
															&& ((tab_valueX[3]-tab_valueX[2])< 15.0)  	&& ((tab_valueX[3] < 80.0)&&(tab_valueX[2] < 80.0)) ;
		FromDroiteToGaucheFast = (tab_valueX[3] > tab_valueX[2]) && ((tab_valueX[3]-tab_valueX[2])>= 15.0)
															&& ((tab_valueX[3]-tab_valueX[2])< 60.0)  	&& ((tab_valueX[3] < 80.0)&&(tab_valueX[2] < 80.0)) ;
//		notDroiteGauche = !((tab_valueX[3] > tab_valueX[2]) && ((tab_valueX[3]-tab_valueX[2])> 3.0)
//														&& ((tab_valueX[3]-tab_valueX[2])< 60.0)  	&& (DistanceX < 100.0) );
//		notGaucheDroite = !((tab_valueX[3] < tab_valueX[2]) && ((tab_valueX[2]-tab_valueX[3])> 3.0)
//														&& ((tab_valueX[2]-tab_valueX[3])< 60.0) && ((DistanceX < 100.0) ));
		versLeBas = (tab_valueY[3] < tab_valueY[2]) && (tab_valueY[2]-tab_valueY[3] < 50.0 )
											&& (tab_valueY[2]-tab_valueY[3] > 5.0 ) && (DistanceY > 0.0) && (tab_valueY[3] < 100.0) && (tab_valueY[2] < 100.0);
		isRotating =  (tab_valueY[3]-tab_valueY[2] > 50.0)	&& (DistanceY > 0.0) 	&& (tab_valueY[2] !=0.0);
//		}
//	}

}

//void HAL_TIM_PWM_PulseFinishedCallback(TIM_HandleTypeDef *htim) {
//
//	HAL_TIM_PWM_Start_DMA(&htim3, TIM_CHANNEL_3, (uint32_t *)tab, TABLE_LENGTH);

//	if (tab == tab_valueX1) tab = tab_value2;
//	else tab = tab_value1;
//
//  flag_done	= 1;
//}
/* USER CODE END 4 */

void Error_Handler(void)
{
  __disable_irq();
  while (1)
  {
  }
}

/************************ (C) COPYRIGHT STMicroelectronics *****END OF FILE****/
